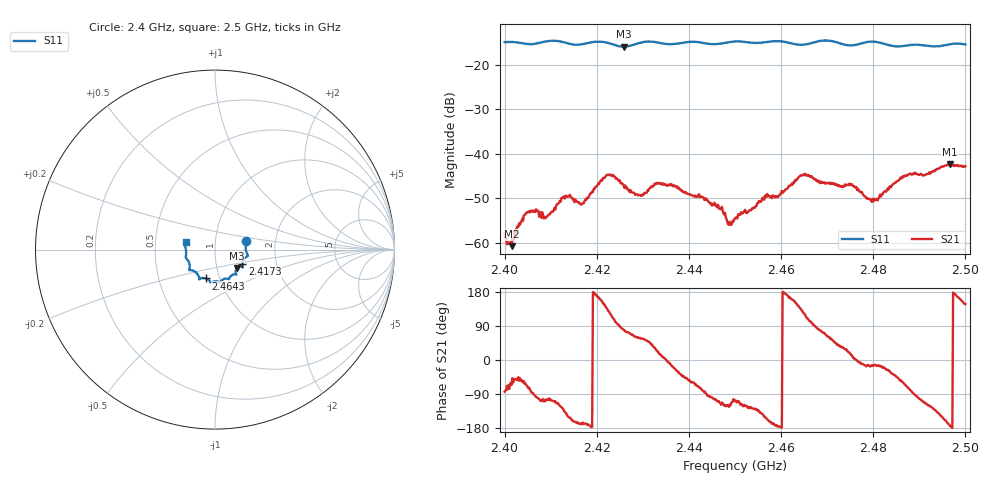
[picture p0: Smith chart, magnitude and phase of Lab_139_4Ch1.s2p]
# Hz S RI R 50
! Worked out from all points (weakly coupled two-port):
!   601 points, 2.4 GHz to 2.5 GHz, reference 50 ohm
!   highest |S21| = -42.29 dB at 2.4967 GHz (marker M1); lowest = -60.7 dB at 2.4015 GHz (marker M2)
!   lowest |S11| = -15.9 dB at 2.4258 GHz (marker M3), VSWR 1.38, Z = 62.3 - j13.3 ohm
!   |S11| at or under -10 dB: start of sweep to end of sweep
!   S12 and S22 are empty: the file has one direction only
!   S11 on the Smith chart (normalised r, x): 2.4 GHz: 1.41, +0.14; 2.4173 GHz: 1.34, -0.23; 2.4643 GHz: 0.86, -0.28; 2.5 GHz: 0.72, +0.06
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2.4e9  0.1732 0.0489  0.000143 -0.00124  0 0  0 0
2.4015e9  0.1761 0.0431  0.000376 -0.000841  0 0  0 0
2.405167e9  0.1706 0.0119  0.000594 -0.00217  0 0  0 0
2.409e9  0.1813 -0.0293  -0.000573 -0.00184  0 0  0 0
2.413667e9  0.169 -0.0447  -0.0028 -0.00174  0 0  0 0
2.416667e9  0.153 -0.0745  -0.00262 -0.000619  0 0  0 0
2.417333e9  0.1521 -0.082  -0.00288 -0.000598  0 0  0 0
2.422333e9  0.15 -0.0948  -0.00402 0.00425  0 0  0 0
2.425833e9  0.1219 -0.1036  0.000789 0.00434  0 0  0 0
2.4295e9  0.1166 -0.1345  0.00182 0.00295  0 0  0 0
2.433333e9  0.1127 -0.1376  0.00436 0.00177  0 0  0 0
2.442667e9  0.0716 -0.1628  0.000811 -0.00322  0 0  0 0
2.446833e9  0.0414 -0.1682  -0.000975 -0.00219  0 0  0 0
2.448833e9  0.032 -0.1775  -0.00082 -0.00153  0 0  0 0
2.45e9  0.0289 -0.1811  -0.000535 -0.00182  0 0  0 0
2.464333e9  -0.05 -0.1606  -0.0039 0.0042  0 0  0 0
2.466667e9  -0.0758 -0.1591  -0.000664 0.00556  0 0  0 0
2.475333e9  -0.1098 -0.1238  0.00447 0.00102  0 0  0 0
2.4795e9  -0.1427 -0.1141  0.00291 -0.000853  0 0  0 0
2.483333e9  -0.1408 -0.0896  0.0035 -0.00189  0 0  0 0
2.496667e9  -0.169 0.0247  -0.00764 -0.000797  0 0  0 0
2.5e9  -0.1642 0.0428  -0.00612 0.00392  0 0  0 0
